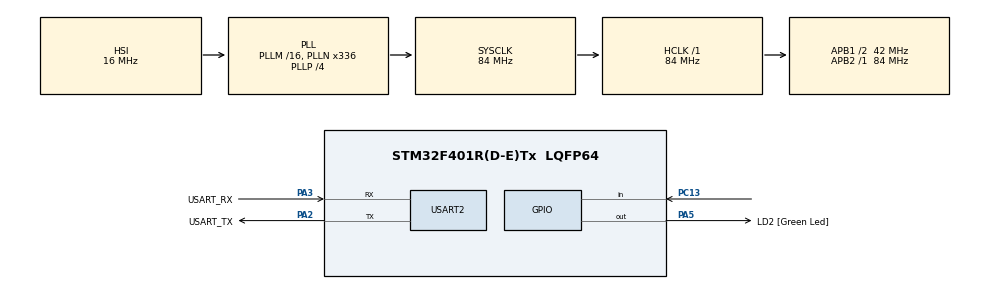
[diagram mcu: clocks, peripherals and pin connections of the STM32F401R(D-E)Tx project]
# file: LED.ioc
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Mcu.Family=STM32F4
Mcu.Name=STM32F401R(D-E)Tx
Mcu.Package=LQFP64
NVIC.PriorityGroup=NVIC_PRIORITYGROUP_4
PA13.GPIO_Label=TMS
PA13.Mode=Trace_Asynchronous_SW
PA13.Signal=SYS_JTMS-SWDIO
PA14.GPIO_Label=TCK
PA14.Mode=Trace_Asynchronous_SW
PA14.Signal=SYS_JTCK-SWCLK
PA2.GPIO_Label=USART_TX
PA2.GPIO_Mode=GPIO_MODE_AF_PP
PA2.GPIO_PuPd=GPIO_NOPULL
PA2.GPIO_Speed=GPIO_SPEED_FREQ_LOW
PA2.Mode=Asynchronous
PA2.Signal=USART2_TX
PA3.GPIO_Label=USART_RX
PA3.GPIO_Mode=GPIO_MODE_AF_PP
PA3.GPIO_PuPd=GPIO_NOPULL
PA3.GPIO_Speed=GPIO_SPEED_FREQ_LOW
PA3.Mode=Asynchronous
PA3.Signal=USART2_RX
PA5.GPIO_Label=LD2 [Green Led]
PA5.GPIO_Mode=GPIO_MODE_OUTPUT_PP
PA5.GPIO_PuPd=GPIO_NOPULL
PA5.GPIO_Speed=GPIO_SPEED_FREQ_LOW
PA5.Signal=GPIO_Output
PB3.GPIO_Label=SWO
PB3.Mode=Trace_Asynchronous_SW
PB3.Signal=SYS_JTDO-SWO
PC13-ANTI_TAMP.GPIO_PuPd=GPIO_PULLUP
PC13-ANTI_TAMP.Signal=GPIO_Input
PC14-OSC32_IN.Mode=LSE-External-Oscillator
PC14-OSC32_IN.Signal=RCC_OSC32_IN
PC15-OSC32_OUT.Mode=LSE-External-Oscillator
PC15-OSC32_OUT.Signal=RCC_OSC32_OUT
PH0\ -\ OSC_IN.Mode=HSE-External-Clock-Source
PH0\ -\ OSC_IN.Signal=RCC_OSC_IN
PH1\ -\ OSC_OUT.Mode=HSE-External-Clock-Source
PH1\ -\ OSC_OUT.Signal=RCC_OSC_OUT
ProjectManager.HeapSize=0x200
ProjectManager.StackSize=0x400
ProjectManager.TargetToolchain=CMake
RCC.48MHZClocksFreq_Value=48000000
RCC.AHBFreq_Value=84000000
RCC.APB1CLKDivider=RCC_HCLK_DIV2
RCC.APB1Freq_Value=42000000
RCC.APB1TimFreq_Value=84000000
RCC.APB2Freq_Value=84000000
RCC.APB2TimFreq_Value=84000000
RCC.CortexFreq_Value=84000000
RCC.HCLKFreq_Value=84000000
RCC.HSE_VALUE=8000000
RCC.HSI_VALUE=16000000
RCC.PLLN=336
RCC.PLLP=RCC_PLLP_DIV4
RCC.PLLQ=7
RCC.SYSCLKFreq_VALUE=84000000
RCC.SYSCLKSource=RCC_SYSCLKSOURCE_PLLCLK
RCC.VCOOutputFreq_Value=336000000
USART2.VirtualMode=VM_ASYNC
board=NUCLEO-F401RE

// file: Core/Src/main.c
/* USER CODE BEGIN Header */
/**
  ******************************************************************************
  * @file           : main.c
  * @brief          : Main program body
  ******************************************************************************
  * @attention
  *
  * Copyright (c) 2026 STMicroelectronics.
  * All rights reserved.
  *
  * This software is licensed under terms that can be found in the LICENSE file
  * in the root directory of this software component.
  * If no LICENSE file comes with this software, it is provided AS-IS.
  *
  ******************************************************************************
  */
/* USER CODE END Header */
#include "main.h"

/* USER CODE BEGIN Includes */
#include <string.h>
/* USER CODE END Includes */

/* USER CODE BEGIN PTD */
typedef enum {
  STATE_IDLE = 0,
  STATE_BLINK_INITIAL,
  STATE_LED_ON_WAIT,
  STATE_BLINK_FINAL
} State_t;
/* USER CODE END PTD */

/* USER CODE BEGIN PD */
#define DEBOUNCE_DELAY_MS 50
/* USER CODE END PD */

UART_HandleTypeDef huart2;

/* USER CODE BEGIN PV */
State_t current_state = STATE_IDLE;
uint32_t tick_start = 0;
uint8_t button_press_count = 0;

/* Variabili per il debounce e rilevamento fronti */
GPIO_PinState filtered_button_state = GPIO_PIN_SET;
GPIO_PinState last_raw_button_state = GPIO_PIN_SET;
GPIO_PinState last_filtered_button_state = GPIO_PIN_SET;
uint32_t last_debounce_tick = 0;

extern UART_HandleTypeDef huart2; // UART per la stampa su terminale virtuale[cite: 1]
/* USER CODE END PV */

void SystemClock_Config(void);
static void MX_GPIO_Init(void);
static void MX_USART2_UART_Init(void);
/* USER CODE BEGIN PFP */
void UART_SendStatus(const char *msg);
/* USER CODE END PFP */

int main(void)
{

  /* MCU Configuration--------------------------------------------------------*/

  /* Reset of all peripherals, Initializes the Flash interface and the Systick. */
  HAL_Init();

  /* Configure the system clock */
  SystemClock_Config();

  /* Initialize all configured peripherals */
  MX_GPIO_Init();
  MX_USART2_UART_Init();

  /* Infinite loop */
  /* USER CODE BEGIN WHILE */
  while (1)
  {
    uint32_t current_tick = HAL_GetTick();

    // 1. Lettura grezza del pin del pulsante (es. PC13 su Nucleo)
    GPIO_PinState raw_button_state = HAL_GPIO_ReadPin(GPIOC, GPIO_PIN_13);

    // 2. Logica di Debounce Software
    if (raw_button_state != last_raw_button_state) {
        last_debounce_tick = current_tick; // Reset del timer se il segnale oscilla
    }
    last_raw_button_state = raw_button_state;

    if ((current_tick - last_debounce_tick) > DEBOUNCE_DELAY_MS) {
        if (raw_button_state != filtered_button_state) {
            filtered_button_state = raw_button_state;
        }
    }

    // 3. Rilevamento fronti puliti (Pull-up: Premuto = RESET, Rilasciato = SET)
    uint8_t button_pressed_edge  = (last_filtered_button_state == GPIO_PIN_SET && filtered_button_state == GPIO_PIN_RESET);
    uint8_t button_released_edge = (last_filtered_button_state == GPIO_PIN_RESET && filtered_button_state == GPIO_PIN_SET);

    last_filtered_button_state = filtered_button_state;

    // 4. Logica sequenziale con if / else if
    if (current_state == STATE_IDLE) {
        // Al rilascio del tasto USER parte il primo lampeggio[cite: 1]
        if (button_released_edge) {
            tick_start = current_tick;
            current_state = STATE_BLINK_INITIAL;
            UART_SendStatus("Stato: Tasto rilasciato. Lampeggio iniziale (3 volte, periodo 2s, duty 30%).\r\n");
        }
    }
    else if (current_state == STATE_BLINK_INITIAL) {
        // Periodo totale = 2000 ms. Duty cycle 30% = 600 ms ON, 1400 ms OFF (ripetuto 3 volte)[cite: 1]
        uint32_t elapsed = current_tick - tick_start;
        uint32_t cycle_time = elapsed % 2000;

        if (cycle_time < 600) {
            HAL_GPIO_WritePin(GPIOA, GPIO_PIN_5, GPIO_PIN_SET);   // LED ON (es. LD2)
        } else {
            HAL_GPIO_WritePin(GPIOA, GPIO_PIN_5, GPIO_PIN_RESET); // LED OFF
        }

        // Controllo completamento dei 3 cicli (3 * 2000 ms = 6000 ms)[cite: 1]
        if (elapsed >= 6000) {
            HAL_GPIO_WritePin(GPIOA, GPIO_PIN_5, GPIO_PIN_SET); // Resta acceso fisso[cite: 1]
            UART_SendStatus("Stato: LED acceso fisso. In attesa di 2 pressioni nei prossimi 3s...\r\n");

            tick_start = current_tick;
            button_press_count = 0;
            current_state = STATE_LED_ON_WAIT;
        }
    }
    else if (current_state == STATE_LED_ON_WAIT) {
        // Conteggio delle pressioni nei successivi 3 secondi[cite: 1]
        if (button_pressed_edge) {
            button_press_count++;
            UART_SendStatus("Info: Pressione rilevata durante l'attesa.\r\n");
        }

        // Verifica scadenza della finestra temporale di 3000 ms[cite: 1]
        if ((current_tick - tick_start) >= 3000) {
            if (button_press_count >= 2) {
                tick_start = current_tick;
                current_state = STATE_BLINK_FINAL;
                UART_SendStatus("Stato: 2 pressioni ricevute! Lampeggio finale (4 volte)...\r\n");
            } else {
                HAL_GPIO_WritePin(GPIOA, GPIO_PIN_5, GPIO_PIN_RESET);
                current_state = STATE_IDLE;
                UART_SendStatus("Stato: Timeout o pressioni insufficienti. Spegnimento e ritorno allo stato iniziale.\r\n");
            }
        }
    }
    else if (current_state == STATE_BLINK_FINAL) {
        // Lampeggio finale per 4 volte (es. periodo 1000 ms: 500 ms ON, 500 ms OFF)[cite: 1]
        uint32_t elapsed = current_tick - tick_start;
        uint32_t cycle_time = elapsed % 1000;

        if (cycle_time < 500) {
            HAL_GPIO_WritePin(GPIOA, GPIO_PIN_5, GPIO_PIN_SET);
        } else {
            HAL_GPIO_WritePin(GPIOA, GPIO_PIN_5, GPIO_PIN_RESET);
        }

        // Controllo completamento dei 4 cicli (4 * 1000 ms = 4000 ms)[cite: 1]
        if (elapsed >= 4000) {
            HAL_GPIO_WritePin(GPIOA, GPIO_PIN_5, GPIO_PIN_RESET);
            current_state = STATE_IDLE;
            UART_SendStatus("Stato: Sequenza completata. LED spento, ritorno allo stato iniziale.\r\n");
        }
    }
    /* USER CODE END WHILE */

  }
}

void SystemClock_Config(void)
{
  RCC_OscInitTypeDef RCC_OscInitStruct = {0};
  RCC_ClkInitTypeDef RCC_ClkInitStruct = {0};

  /** Configure the main internal regulator output voltage
  */
  __HAL_RCC_PWR_CLK_ENABLE();
  __HAL_PWR_VOLTAGESCALING_CONFIG(PWR_REGULATOR_VOLTAGE_SCALE2);

  /** Initializes the RCC Oscillators according to the specified parameters
  * in the RCC_OscInitTypeDef structure.
  */
  RCC_OscInitStruct.OscillatorType = RCC_OSCILLATORTYPE_HSI;
  RCC_OscInitStruct.HSIState = RCC_HSI_ON;
  RCC_OscInitStruct.HSICalibrationValue = RCC_HSICALIBRATION_DEFAULT;
  RCC_OscInitStruct.PLL.PLLState = RCC_PLL_ON;
  RCC_OscInitStruct.PLL.PLLSource = RCC_PLLSOURCE_HSI;
  RCC_OscInitStruct.PLL.PLLM = 16;
  RCC_OscInitStruct.PLL.PLLN = 336;
  RCC_OscInitStruct.PLL.PLLP = RCC_PLLP_DIV4;
  RCC_OscInitStruct.PLL.PLLQ = 7;
  if (HAL_RCC_OscConfig(&RCC_OscInitStruct) != HAL_OK)
  {
    Error_Handler();
  }

  /** Initializes the CPU, AHB and APB buses clocks
  */
  RCC_ClkInitStruct.ClockType = RCC_CLOCKTYPE_HCLK|RCC_CLOCKTYPE_SYSCLK
                              |RCC_CLOCKTYPE_PCLK1|RCC_CLOCKTYPE_PCLK2;
  RCC_ClkInitStruct.SYSCLKSource = RCC_SYSCLKSOURCE_PLLCLK;
  RCC_ClkInitStruct.AHBCLKDivider = RCC_SYSCLK_DIV1;
  RCC_ClkInitStruct.APB1CLKDivider = RCC_HCLK_DIV2;
  RCC_ClkInitStruct.APB2CLKDivider = RCC_HCLK_DIV1;

  if (HAL_RCC_ClockConfig(&RCC_ClkInitStruct, FLASH_LATENCY_2) != HAL_OK)
  {
    Error_Handler();
  }
}

static void MX_USART2_UART_Init(void)
{

  huart2.Instance = USART2;
  huart2.Init.BaudRate = 115200;
  huart2.Init.WordLength = UART_WORDLENGTH_8B;
  huart2.Init.StopBits = UART_STOPBITS_1;
  huart2.Init.Parity = UART_PARITY_NONE;
  huart2.Init.Mode = UART_MODE_TX_RX;
  huart2.Init.HwFlowCtl = UART_HWCONTROL_NONE;
  huart2.Init.OverSampling = UART_OVERSAMPLING_16;
  if (HAL_UART_Init(&huart2) != HAL_OK)
  {
    Error_Handler();
  }

}

static void MX_GPIO_Init(void)
{
  GPIO_InitTypeDef GPIO_InitStruct = {0};

  /* GPIO Ports Clock Enable */
  __HAL_RCC_GPIOC_CLK_ENABLE();
  __HAL_RCC_GPIOH_CLK_ENABLE();
  __HAL_RCC_GPIOA_CLK_ENABLE();
  __HAL_RCC_GPIOB_CLK_ENABLE();

  /*Configure GPIO pin Output Level */
  HAL_GPIO_WritePin(LD2_GPIO_Port, LD2_Pin, GPIO_PIN_RESET);

  /*Configure GPIO pin : PC13 */
  GPIO_InitStruct.Pin = GPIO_PIN_13;
  GPIO_InitStruct.Mode = GPIO_MODE_INPUT;
  GPIO_InitStruct.Pull = GPIO_PULLUP;
  HAL_GPIO_Init(GPIOC, &GPIO_InitStruct);

  /*Configure GPIO pin : LD2_Pin */
  GPIO_InitStruct.Pin = LD2_Pin;
  GPIO_InitStruct.Mode = GPIO_MODE_OUTPUT_PP;
  GPIO_InitStruct.Pull = GPIO_NOPULL;
  GPIO_InitStruct.Speed = GPIO_SPEED_FREQ_LOW;
  HAL_GPIO_Init(LD2_GPIO_Port, &GPIO_InitStruct);

}

/* USER CODE BEGIN 4 */
void UART_SendStatus(const char *msg) {
    HAL_UART_Transmit(&huart2, (uint8_t*)msg, strlen(msg), HAL_MAX_DELAY);
}
/* USER CODE END 4 */

void Error_Handler(void)
{
  __disable_irq();
  while (1)
  {
  }
}
